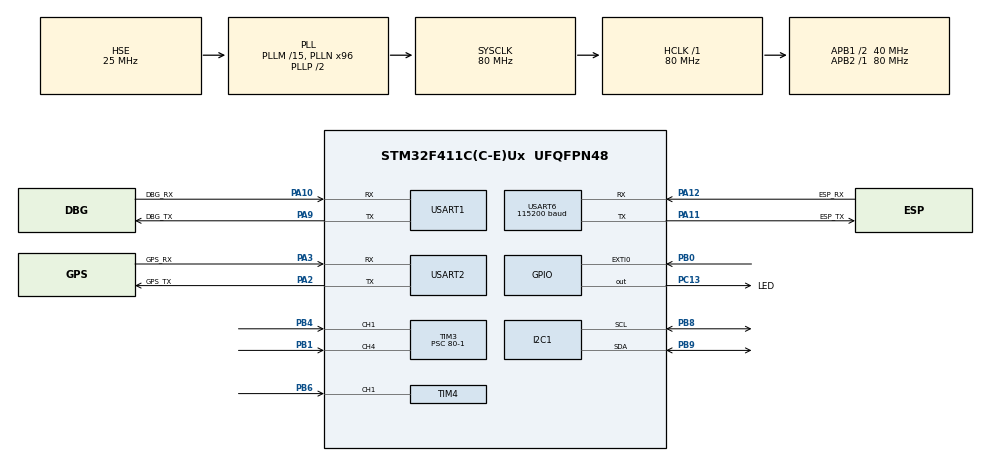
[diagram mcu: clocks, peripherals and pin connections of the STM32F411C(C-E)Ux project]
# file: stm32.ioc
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Dma.Request0=USART2_RX
Dma.Request1=USART1_RX
Dma.Request2=USART1_TX
Dma.Request3=USART6_RX
Dma.Request4=USART6_TX
Dma.USART1_RX.1.Direction=DMA_PERIPH_TO_MEMORY
Dma.USART1_RX.1.FIFOMode=DMA_FIFOMODE_DISABLE
Dma.USART1_RX.1.Instance=DMA2_Stream2
Dma.USART1_RX.1.MemDataAlignment=DMA_MDATAALIGN_BYTE
Dma.USART1_RX.1.MemInc=DMA_MINC_ENABLE
Dma.USART1_RX.1.Mode=DMA_NORMAL
Dma.USART1_RX.1.PeriphDataAlignment=DMA_PDATAALIGN_BYTE
Dma.USART1_RX.1.PeriphInc=DMA_PINC_DISABLE
Dma.USART1_RX.1.Priority=DMA_PRIORITY_LOW
Dma.USART1_TX.2.Direction=DMA_MEMORY_TO_PERIPH
Dma.USART1_TX.2.FIFOMode=DMA_FIFOMODE_DISABLE
Dma.USART1_TX.2.Instance=DMA2_Stream7
Dma.USART1_TX.2.MemDataAlignment=DMA_MDATAALIGN_BYTE
Dma.USART1_TX.2.MemInc=DMA_MINC_ENABLE
Dma.USART1_TX.2.Mode=DMA_NORMAL
Dma.USART1_TX.2.PeriphDataAlignment=DMA_PDATAALIGN_BYTE
Dma.USART1_TX.2.PeriphInc=DMA_PINC_DISABLE
Dma.USART1_TX.2.Priority=DMA_PRIORITY_LOW
Dma.USART2_RX.0.Direction=DMA_PERIPH_TO_MEMORY
Dma.USART2_RX.0.FIFOMode=DMA_FIFOMODE_DISABLE
Dma.USART2_RX.0.Instance=DMA1_Stream5
Dma.USART2_RX.0.MemDataAlignment=DMA_MDATAALIGN_BYTE
Dma.USART2_RX.0.MemInc=DMA_MINC_ENABLE
Dma.USART2_RX.0.Mode=DMA_NORMAL
Dma.USART2_RX.0.PeriphDataAlignment=DMA_PDATAALIGN_BYTE
Dma.USART2_RX.0.PeriphInc=DMA_PINC_DISABLE
Dma.USART2_RX.0.Priority=DMA_PRIORITY_LOW
Dma.USART6_RX.3.Direction=DMA_PERIPH_TO_MEMORY
Dma.USART6_RX.3.FIFOMode=DMA_FIFOMODE_DISABLE
Dma.USART6_RX.3.Instance=DMA2_Stream1
Dma.USART6_RX.3.MemDataAlignment=DMA_MDATAALIGN_BYTE
Dma.USART6_RX.3.MemInc=DMA_MINC_ENABLE
Dma.USART6_RX.3.Mode=DMA_NORMAL
Dma.USART6_RX.3.PeriphDataAlignment=DMA_PDATAALIGN_BYTE
Dma.USART6_RX.3.PeriphInc=DMA_PINC_DISABLE
Dma.USART6_RX.3.Priority=DMA_PRIORITY_LOW
Dma.USART6_TX.4.Direction=DMA_MEMORY_TO_PERIPH
Dma.USART6_TX.4.FIFOMode=DMA_FIFOMODE_DISABLE
Dma.USART6_TX.4.Instance=DMA2_Stream6
Dma.USART6_TX.4.MemDataAlignment=DMA_MDATAALIGN_BYTE
Dma.USART6_TX.4.MemInc=DMA_MINC_ENABLE
Dma.USART6_TX.4.Mode=DMA_NORMAL
Dma.USART6_TX.4.PeriphDataAlignment=DMA_PDATAALIGN_BYTE
Dma.USART6_TX.4.PeriphInc=DMA_PINC_DISABLE
Dma.USART6_TX.4.Priority=DMA_PRIORITY_LOW
Mcu.Family=STM32F4
Mcu.Name=STM32F411C(C-E)Ux
Mcu.Package=UFQFPN48
NVIC.DMA1_Stream5_IRQn=true\:1\:0\:true\:false\:true\:false\:true\:true
NVIC.DMA2_Stream1_IRQn=true\:1\:0\:true\:false\:true\:false\:true\:true
NVIC.DMA2_Stream2_IRQn=true\:1\:0\:true\:false\:true\:false\:true\:true
NVIC.DMA2_Stream6_IRQn=true\:1\:0\:true\:false\:true\:false\:true\:true
NVIC.DMA2_Stream7_IRQn=true\:1\:0\:true\:false\:true\:false\:true\:true
NVIC.PriorityGroup=NVIC_PRIORITYGROUP_4
NVIC.TIM2_IRQn=true\:0\:0\:true\:false\:true\:true\:true\:true
NVIC.TIM3_IRQn=true\:2\:0\:true\:false\:true\:true\:true\:true
NVIC.TIM4_IRQn=true\:2\:0\:true\:false\:true\:true\:true\:true
NVIC.USART1_IRQn=true\:10\:0\:true\:false\:true\:true\:true\:true
NVIC.USART6_IRQn=true\:5\:0\:true\:false\:true\:true\:true\:true
PA10.GPIO_Label=DBG_RX
PA10.Mode=Asynchronous
PA10.Signal=USART1_RX
PA11.GPIO_Label=ESP_TX
PA11.Mode=Asynchronous
PA11.Signal=USART6_TX
PA12.GPIO_Label=ESP_RX
PA12.Mode=Asynchronous
PA12.Signal=USART6_RX
PA13.Mode=Trace_Asynchronous_SW
PA13.Signal=SYS_JTMS-SWDIO
PA14.Mode=Trace_Asynchronous_SW
PA14.Signal=SYS_JTCK-SWCLK
PA2.GPIO_Label=GPS_TX
PA2.Mode=Asynchronous
PA2.Signal=USART2_TX
PA3.GPIO_Label=GPS_RX
PA3.Mode=Asynchronous
PA3.Signal=USART2_RX
PA9.GPIO_Label=DBG_TX
PA9.Mode=Asynchronous
PA9.Signal=USART1_TX
PB0.GPIO_ModeDefaultEXTI=GPIO_MODE_IT_RISING_FALLING
PB0.GPIO_PuPd=GPIO_PULLDOWN
PB0.Signal=GPXTI0
PB1.Signal=S_TIM3_CH4
PB3.Mode=Trace_Asynchronous_SW
PB3.Signal=SYS_JTDO-SWO
PB4.Signal=S_TIM3_CH1
PB5.Signal=S_TIM3_CH2
PB6.Signal=S_TIM4_CH1
PB8.Mode=I2C
PB8.Signal=I2C1_SCL
PB9.Mode=I2C
PB9.Signal=I2C1_SDA
PC13-ANTI_TAMP.GPIO_Label=LED
PC13-ANTI_TAMP.Signal=GPIO_Output
PC14-OSC32_IN.Mode=LSE-External-Oscillator
PC14-OSC32_IN.Signal=RCC_OSC32_IN
PC15-OSC32_OUT.Mode=LSE-External-Oscillator
PC15-OSC32_OUT.Signal=RCC_OSC32_OUT
PH0\ -\ OSC_IN.Mode=HSE-External-Oscillator
PH0\ -\ OSC_IN.Signal=RCC_OSC_IN
PH1\ -\ OSC_OUT.Mode=HSE-External-Oscillator
PH1\ -\ OSC_OUT.Signal=RCC_OSC_OUT
ProjectManager.HeapSize=0x100
ProjectManager.StackSize=0x500
ProjectManager.TargetToolchain=CMake
RCC.48MHZClocksFreq_Value=40000000
RCC.AHBFreq_Value=80000000
RCC.APB1CLKDivider=RCC_HCLK_DIV2
RCC.APB1Freq_Value=40000000
RCC.APB1TimFreq_Value=80000000
RCC.APB2Freq_Value=80000000
RCC.APB2TimFreq_Value=80000000
RCC.CortexFreq_Value=80000000
RCC.HCLKFreq_Value=80000000
RCC.HSE_VALUE=25000000
RCC.HSI_VALUE=16000000
RCC.PLLM=15
RCC.PLLN=96
RCC.PLLSourceVirtual=RCC_PLLSOURCE_HSE
RCC.SYSCLKFreq_VALUE=80000000
RCC.SYSCLKSource=RCC_SYSCLKSOURCE_PLLCLK
RCC.VCOOutputFreq_Value=160000000
SH.S_TIM3_CH1.0=TIM3_CH1,Input_Capture1_from_TI1
SH.S_TIM3_CH2.0=TIM3_CH2
SH.S_TIM3_CH4.0=TIM3_CH4,Input_Capture4_from_TI4
SH.S_TIM4_CH1.0=TIM4_CH1,Input_Capture1_from_TI1
TIM2.AutoReloadPreload=TIM_AUTORELOAD_PRELOAD_ENABLE
TIM2.Channel-Output\ Compare1\ No\ Output=TIM_CHANNEL_1
TIM2.Channel-Output\ Compare2\ No\ Output=TIM_CHANNEL_2
TIM2.Channel-Output\ Compare3\ No\ Output=TIM_CHANNEL_3
TIM2.Channel-Output\ Compare4\ No\ Output=TIM_CHANNEL_4
TIM2.OC1Preload=DISABLE
TIM2.OCMode_1=TIM_OCMODE_TIMING
TIM2.Period=0xffffffff
TIM2.Prescaler=80-1
TIM2.Pulse-Output\ Compare1\ No\ Output=10
TIM2.Pulse-Output\ Compare2\ No\ Output=1000
TIM2.Pulse-Output\ Compare3\ No\ Output=10000
TIM2.Pulse-Output\ Compare4\ No\ Output=100000
TIM3.Channel-Input_Capture1_from_TI1=TIM_CHANNEL_1
TIM3.Channel-Input_Capture4_from_TI4=TIM_CHANNEL_4
TIM3.Prescaler=80-1
TIM4.Channel-Input_Capture1_from_TI1=TIM_CHANNEL_1
TIM4.Prescaler=80-1
USART1.VirtualMode=VM_ASYNC
USART2.VirtualMode=VM_ASYNC
USART6.BaudRate=115200
USART6.VirtualMode=VM_ASYNC
VP_CRC_VS_CRC.Mode=CRC_Activate
VP_TIM2_VS_ClockSourceINT.Mode=Internal
VP_TIM2_VS_no_output1.Mode=Output Compare1 No Output
VP_TIM2_VS_no_output2.Mode=Output Compare2 No Output
VP_TIM2_VS_no_output3.Mode=Output Compare3 No Output
VP_TIM2_VS_no_output4.Mode=Output Compare4 No Output
VP_TIM3_VS_ClockSourceINT.Mode=Internal
VP_TIM4_VS_ClockSourceINT.Mode=Internal
board=custom

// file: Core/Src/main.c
/* USER CODE BEGIN Header */
/**
 ******************************************************************************
 * @file           : main.c
 * @brief          : Main program body
 ******************************************************************************
 * @attention
 *
 * Copyright (c) 2025 STMicroelectronics.
 * All rights reserved.
 *
 * This software is licensed under terms that can be found in the LICENSE file
 * in the root directory of this software component.
 * If no LICENSE file comes with this software, it is provided AS-IS.
 *
 ******************************************************************************
 */
/* USER CODE END Header */
#include "main.h"

/* USER CODE BEGIN Includes */
#include "su_common.h"
/* USER CODE END Includes */

/* USER CODE BEGIN PD */
extern int app(void);

/* USER CODE END PD */

CRC_HandleTypeDef hcrc;

I2C_HandleTypeDef hi2c1;

TIM_HandleTypeDef htim2;
TIM_HandleTypeDef htim3;
TIM_HandleTypeDef htim4;

UART_HandleTypeDef huart1;
UART_HandleTypeDef huart2;
UART_HandleTypeDef huart6;
DMA_HandleTypeDef hdma_usart1_rx;
DMA_HandleTypeDef hdma_usart1_tx;
DMA_HandleTypeDef hdma_usart2_rx;
DMA_HandleTypeDef hdma_usart6_rx;
DMA_HandleTypeDef hdma_usart6_tx;

void SystemClock_Config(void);
static void MX_GPIO_Init(void);
static void MX_DMA_Init(void);
static void MX_USART1_UART_Init(void);
static void MX_I2C1_Init(void);
static void MX_CRC_Init(void);
static void MX_TIM2_Init(void);
static void MX_TIM3_Init(void);
static void MX_TIM4_Init(void);
static void MX_USART2_UART_Init(void);
static void MX_USART6_UART_Init(void);

/* USER CODE BEGIN 0 */

static UART_HandleTypeDef *const l_uart_ifcs[] = {&huart1, &huart6};
size_t get_uart_ifcs(UART_HandleTypeDef *const **const uart_ifcs_buffer)
{
  *uart_ifcs_buffer = l_uart_ifcs;
  // Return the number of UART interfaces
  return ARRAY_SIZE(l_uart_ifcs);
}

static I2C_HandleTypeDef *const l_iic_ifcs[] = {&hi2c1};
size_t get_iic_ifcs(I2C_HandleTypeDef *const **const iic_ifcs_buffer)
{
  *iic_ifcs_buffer = l_iic_ifcs;
  // Return the number of UART interfaces
  return ARRAY_SIZE(l_iic_ifcs);
}

static GPIO_TypeDef *const l_hw_ports[] = {LED_GPIO_Port};
static uint16_t const l_hw_pins[] = {LED_Pin};
size_t get_gpio_pins(GPIO_TypeDef *const **const port, uint16_t const **pin)
{
  ARRAY_EQUAL_LENGTHS(l_hw_ports, l_hw_pins);

  *port = l_hw_ports;
  *pin = l_hw_pins;

  return ARRAY_SIZE(l_hw_ports);
}

static inline uint32_t get_tim_bus_freq(TIM_HandleTypeDef *htim)
{
  uint32_t apb1_timer_clk = HAL_RCC_GetPCLK1Freq() * 2;
  uint32_t apb2_timer_clk = HAL_RCC_GetPCLK2Freq() * 1;

  return (((uint32_t)htim->Instance & APB1PERIPH_BASE) == APB1PERIPH_BASE) ? apb1_timer_clk : apb2_timer_clk;
}
static inline uint8_t get_tim_clk_division(TIM_HandleTypeDef *htim)
{
  return (htim->Init.ClockDivision == TIM_CLOCKDIVISION_DIV1) ? 1 : (htim->Init.ClockDivision == TIM_CLOCKDIVISION_DIV2) ? 2
                                                                                                                         : 4;
}

void get_base_tim_ifc(TIM_HandleTypeDef * *hw_inst)
{
  *hw_inst = &htim2;

}

/**
 * @brief
 * @note No support for TIM1
 * @note in one timer don't use the cannels shared with same hardware counter
 * for example TIM3_CH1 and TIM3_CH2 can't be used for input capture at the same time
 */
static struct hal_capture_tim_ifc l_tim_ic_ifcs[] = {{
  .base_timer = &htim3,
  .engaged_channels = TIM_CHANNEL_1,
},
{  .base_timer = &htim3,
  .engaged_channels = TIM_CHANNEL_4,
},
{
  .base_timer = &htim4,
  .engaged_channels = TIM_CHANNEL_1,
}
};

size_t get_ic_tim_ifcs(struct hal_capture_tim_ifc ** hw_tim_ifcs)
{
  *hw_tim_ifcs = l_tim_ic_ifcs;

  // Return the number of TIM interfaces
  return (ARRAY_SIZE(l_tim_ic_ifcs));
}

/* USER CODE END 0 */

int main(void)
{

  /* MCU Configuration--------------------------------------------------------*/

  /* Reset of all peripherals, Initializes the Flash interface and the Systick. */
  HAL_Init();

  /* Configure the system clock */
  SystemClock_Config();

  /* Initialize all configured peripherals */
  MX_GPIO_Init();
  MX_DMA_Init();
  MX_USART1_UART_Init();
  MX_I2C1_Init();
  MX_CRC_Init();
  MX_TIM2_Init();
  MX_TIM3_Init();
  MX_TIM4_Init();
  MX_USART2_UART_Init();
  MX_USART6_UART_Init();
  /* USER CODE BEGIN 2 */

  app();
  /* USER CODE END 2 */

  /* Infinite loop */
  while (1)
  {

    /* USER CODE BEGIN 3 */
    SW_BREAK();
  }
  /* USER CODE END 3 */
}

void SystemClock_Config(void)
{
  RCC_OscInitTypeDef RCC_OscInitStruct = {0};
  RCC_ClkInitTypeDef RCC_ClkInitStruct = {0};

  /** Configure the main internal regulator output voltage
  */
  __HAL_RCC_PWR_CLK_ENABLE();
  __HAL_PWR_VOLTAGESCALING_CONFIG(PWR_REGULATOR_VOLTAGE_SCALE1);

  /** Initializes the RCC Oscillators according to the specified parameters
  * in the RCC_OscInitTypeDef structure.
  */
  RCC_OscInitStruct.OscillatorType = RCC_OSCILLATORTYPE_HSE;
  RCC_OscInitStruct.HSEState = RCC_HSE_ON;
  RCC_OscInitStruct.PLL.PLLState = RCC_PLL_ON;
  RCC_OscInitStruct.PLL.PLLSource = RCC_PLLSOURCE_HSE;
  RCC_OscInitStruct.PLL.PLLM = 15;
  RCC_OscInitStruct.PLL.PLLN = 96;
  RCC_OscInitStruct.PLL.PLLP = RCC_PLLP_DIV2;
  RCC_OscInitStruct.PLL.PLLQ = 4;
  if (HAL_RCC_OscConfig(&RCC_OscInitStruct) != HAL_OK)
  {
    Error_Handler();
  }

  /** Initializes the CPU, AHB and APB buses clocks
  */
  RCC_ClkInitStruct.ClockType = RCC_CLOCKTYPE_HCLK|RCC_CLOCKTYPE_SYSCLK
                              |RCC_CLOCKTYPE_PCLK1|RCC_CLOCKTYPE_PCLK2;
  RCC_ClkInitStruct.SYSCLKSource = RCC_SYSCLKSOURCE_PLLCLK;
  RCC_ClkInitStruct.AHBCLKDivider = RCC_SYSCLK_DIV1;
  RCC_ClkInitStruct.APB1CLKDivider = RCC_HCLK_DIV2;
  RCC_ClkInitStruct.APB2CLKDivider = RCC_HCLK_DIV1;

  if (HAL_RCC_ClockConfig(&RCC_ClkInitStruct, FLASH_LATENCY_2) != HAL_OK)
  {
    Error_Handler();
  }
}

static void MX_CRC_Init(void)
{

  hcrc.Instance = CRC;
  if (HAL_CRC_Init(&hcrc) != HAL_OK)
  {
    Error_Handler();
  }

}

static void MX_I2C1_Init(void)
{

  hi2c1.Instance = I2C1;
  hi2c1.Init.ClockSpeed = 100000;
  hi2c1.Init.DutyCycle = I2C_DUTYCYCLE_2;
  hi2c1.Init.OwnAddress1 = 0;
  hi2c1.Init.AddressingMode = I2C_ADDRESSINGMODE_7BIT;
  hi2c1.Init.DualAddressMode = I2C_DUALADDRESS_DISABLE;
  hi2c1.Init.OwnAddress2 = 0;
  hi2c1.Init.GeneralCallMode = I2C_GENERALCALL_DISABLE;
  hi2c1.Init.NoStretchMode = I2C_NOSTRETCH_DISABLE;
  if (HAL_I2C_Init(&hi2c1) != HAL_OK)
  {
    Error_Handler();
  }

}

static void MX_TIM2_Init(void)
{

  TIM_ClockConfigTypeDef sClockSourceConfig = {0};
  TIM_MasterConfigTypeDef sMasterConfig = {0};
  TIM_OC_InitTypeDef sConfigOC = {0};

  htim2.Instance = TIM2;
  htim2.Init.Prescaler = 80-1;
  htim2.Init.CounterMode = TIM_COUNTERMODE_UP;
  htim2.Init.Period = 0xffffffff;
  htim2.Init.ClockDivision = TIM_CLOCKDIVISION_DIV1;
  htim2.Init.AutoReloadPreload = TIM_AUTORELOAD_PRELOAD_ENABLE;
  if (HAL_TIM_Base_Init(&htim2) != HAL_OK)
  {
    Error_Handler();
  }
  sClockSourceConfig.ClockSource = TIM_CLOCKSOURCE_INTERNAL;
  if (HAL_TIM_ConfigClockSource(&htim2, &sClockSourceConfig) != HAL_OK)
  {
    Error_Handler();
  }
  if (HAL_TIM_OC_Init(&htim2) != HAL_OK)
  {
    Error_Handler();
  }
  sMasterConfig.MasterOutputTrigger = TIM_TRGO_RESET;
  sMasterConfig.MasterSlaveMode = TIM_MASTERSLAVEMODE_DISABLE;
  if (HAL_TIMEx_MasterConfigSynchronization(&htim2, &sMasterConfig) != HAL_OK)
  {
    Error_Handler();
  }
  sConfigOC.OCMode = TIM_OCMODE_TIMING;
  sConfigOC.Pulse = 10;
  sConfigOC.OCPolarity = TIM_OCPOLARITY_HIGH;
  sConfigOC.OCFastMode = TIM_OCFAST_DISABLE;
  if (HAL_TIM_OC_ConfigChannel(&htim2, &sConfigOC, TIM_CHANNEL_1) != HAL_OK)
  {
    Error_Handler();
  }
  sConfigOC.Pulse = 1000;
  if (HAL_TIM_OC_ConfigChannel(&htim2, &sConfigOC, TIM_CHANNEL_2) != HAL_OK)
  {
    Error_Handler();
  }
  sConfigOC.Pulse = 10000;
  if (HAL_TIM_OC_ConfigChannel(&htim2, &sConfigOC, TIM_CHANNEL_3) != HAL_OK)
  {
    Error_Handler();
  }
  sConfigOC.Pulse = 100000;
  if (HAL_TIM_OC_ConfigChannel(&htim2, &sConfigOC, TIM_CHANNEL_4) != HAL_OK)
  {
    Error_Handler();
  }

}

static void MX_TIM3_Init(void)
{

  TIM_ClockConfigTypeDef sClockSourceConfig = {0};
  TIM_MasterConfigTypeDef sMasterConfig = {0};
  TIM_IC_InitTypeDef sConfigIC = {0};

  htim3.Instance = TIM3;
  htim3.Init.Prescaler = 80-1;
  htim3.Init.CounterMode = TIM_COUNTERMODE_UP;
  htim3.Init.Period = 65535;
  htim3.Init.ClockDivision = TIM_CLOCKDIVISION_DIV1;
  htim3.Init.AutoReloadPreload = TIM_AUTORELOAD_PRELOAD_DISABLE;
  if (HAL_TIM_Base_Init(&htim3) != HAL_OK)
  {
    Error_Handler();
  }
  sClockSourceConfig.ClockSource = TIM_CLOCKSOURCE_INTERNAL;
  if (HAL_TIM_ConfigClockSource(&htim3, &sClockSourceConfig) != HAL_OK)
  {
    Error_Handler();
  }
  if (HAL_TIM_IC_Init(&htim3) != HAL_OK)
  {
    Error_Handler();
  }
  sMasterConfig.MasterOutputTrigger = TIM_TRGO_RESET;
  sMasterConfig.MasterSlaveMode = TIM_MASTERSLAVEMODE_DISABLE;
  if (HAL_TIMEx_MasterConfigSynchronization(&htim3, &sMasterConfig) != HAL_OK)
  {
    Error_Handler();
  }
  sConfigIC.ICPolarity = TIM_INPUTCHANNELPOLARITY_RISING;
  sConfigIC.ICSelection = TIM_ICSELECTION_DIRECTTI;
  sConfigIC.ICPrescaler = TIM_ICPSC_DIV1;
  sConfigIC.ICFilter = 0;
  if (HAL_TIM_IC_ConfigChannel(&htim3, &sConfigIC, TIM_CHANNEL_1) != HAL_OK)
  {
    Error_Handler();
  }
  if (HAL_TIM_IC_ConfigChannel(&htim3, &sConfigIC, TIM_CHANNEL_4) != HAL_OK)
  {
    Error_Handler();
  }

}

static void MX_TIM4_Init(void)
{

  TIM_ClockConfigTypeDef sClockSourceConfig = {0};
  TIM_MasterConfigTypeDef sMasterConfig = {0};
  TIM_IC_InitTypeDef sConfigIC = {0};

  htim4.Instance = TIM4;
  htim4.Init.Prescaler = 80-1;
  htim4.Init.CounterMode = TIM_COUNTERMODE_UP;
  htim4.Init.Period = 65535;
  htim4.Init.ClockDivision = TIM_CLOCKDIVISION_DIV1;
  htim4.Init.AutoReloadPreload = TIM_AUTORELOAD_PRELOAD_DISABLE;
  if (HAL_TIM_Base_Init(&htim4) != HAL_OK)
  {
    Error_Handler();
  }
  sClockSourceConfig.ClockSource = TIM_CLOCKSOURCE_INTERNAL;
  if (HAL_TIM_ConfigClockSource(&htim4, &sClockSourceConfig) != HAL_OK)
  {
    Error_Handler();
  }
  if (HAL_TIM_IC_Init(&htim4) != HAL_OK)
  {
    Error_Handler();
  }
  sMasterConfig.MasterOutputTrigger = TIM_TRGO_RESET;
  sMasterConfig.MasterSlaveMode = TIM_MASTERSLAVEMODE_DISABLE;
  if (HAL_TIMEx_MasterConfigSynchronization(&htim4, &sMasterConfig) != HAL_OK)
  {
    Error_Handler();
  }
  sConfigIC.ICPolarity = TIM_INPUTCHANNELPOLARITY_RISING;
  sConfigIC.ICSelection = TIM_ICSELECTION_DIRECTTI;
  sConfigIC.ICPrescaler = TIM_ICPSC_DIV1;
  sConfigIC.ICFilter = 0;
  if (HAL_TIM_IC_ConfigChannel(&htim4, &sConfigIC, TIM_CHANNEL_1) != HAL_OK)
  {
    Error_Handler();
  }

}

static void MX_USART1_UART_Init(void)
{

  huart1.Instance = USART1;
  huart1.Init.BaudRate = 115200;
  huart1.Init.WordLength = UART_WORDLENGTH_8B;
  huart1.Init.StopBits = UART_STOPBITS_1;
  huart1.Init.Parity = UART_PARITY_NONE;
  huart1.Init.Mode = UART_MODE_TX_RX;
  huart1.Init.HwFlowCtl = UART_HWCONTROL_NONE;
  huart1.Init.OverSampling = UART_OVERSAMPLING_16;
  if (HAL_UART_Init(&huart1) != HAL_OK)
  {
    Error_Handler();
  }

}

static void MX_USART2_UART_Init(void)
{

  huart2.Instance = USART2;
  huart2.Init.BaudRate = 115200;
  huart2.Init.WordLength = UART_WORDLENGTH_8B;
  huart2.Init.StopBits = UART_STOPBITS_1;
  huart2.Init.Parity = UART_PARITY_NONE;
  huart2.Init.Mode = UART_MODE_TX_RX;
  huart2.Init.HwFlowCtl = UART_HWCONTROL_NONE;
  huart2.Init.OverSampling = UART_OVERSAMPLING_16;
  if (HAL_UART_Init(&huart2) != HAL_OK)
  {
    Error_Handler();
  }

}

static void MX_USART6_UART_Init(void)
{

  huart6.Instance = USART6;
  huart6.Init.BaudRate = 115200;
  huart6.Init.WordLength = UART_WORDLENGTH_8B;
  huart6.Init.StopBits = UART_STOPBITS_1;
  huart6.Init.Parity = UART_PARITY_NONE;
  huart6.Init.Mode = UART_MODE_TX_RX;
  huart6.Init.HwFlowCtl = UART_HWCONTROL_NONE;
  huart6.Init.OverSampling = UART_OVERSAMPLING_16;
  if (HAL_UART_Init(&huart6) != HAL_OK)
  {
    Error_Handler();
  }

}

static void MX_DMA_Init(void)
{

  /* DMA controller clock enable */
  __HAL_RCC_DMA1_CLK_ENABLE();
  __HAL_RCC_DMA2_CLK_ENABLE();

  /* DMA interrupt init */
  /* DMA1_Stream5_IRQn interrupt configuration */
  HAL_NVIC_SetPriority(DMA1_Stream5_IRQn, 1, 0);
  HAL_NVIC_EnableIRQ(DMA1_Stream5_IRQn);
  /* DMA2_Stream1_IRQn interrupt configuration */
  HAL_NVIC_SetPriority(DMA2_Stream1_IRQn, 1, 0);
  HAL_NVIC_EnableIRQ(DMA2_Stream1_IRQn);
  /* DMA2_Stream2_IRQn interrupt configuration */
  HAL_NVIC_SetPriority(DMA2_Stream2_IRQn, 1, 0);
  HAL_NVIC_EnableIRQ(DMA2_Stream2_IRQn);
  /* DMA2_Stream6_IRQn interrupt configuration */
  HAL_NVIC_SetPriority(DMA2_Stream6_IRQn, 1, 0);
  HAL_NVIC_EnableIRQ(DMA2_Stream6_IRQn);
  /* DMA2_Stream7_IRQn interrupt configuration */
  HAL_NVIC_SetPriority(DMA2_Stream7_IRQn, 1, 0);
  HAL_NVIC_EnableIRQ(DMA2_Stream7_IRQn);

}

static void MX_GPIO_Init(void)
{
  GPIO_InitTypeDef GPIO_InitStruct = {0};

  /* GPIO Ports Clock Enable */
  __HAL_RCC_GPIOC_CLK_ENABLE();
  __HAL_RCC_GPIOH_CLK_ENABLE();
  __HAL_RCC_GPIOA_CLK_ENABLE();
  __HAL_RCC_GPIOB_CLK_ENABLE();

  /*Configure GPIO pin Output Level */
  HAL_GPIO_WritePin(LED_GPIO_Port, LED_Pin, GPIO_PIN_RESET);

  /*Configure GPIO pin : LED_Pin */
  GPIO_InitStruct.Pin = LED_Pin;
  GPIO_InitStruct.Mode = GPIO_MODE_OUTPUT_PP;
  GPIO_InitStruct.Pull = GPIO_NOPULL;
  GPIO_InitStruct.Speed = GPIO_SPEED_FREQ_LOW;
  HAL_GPIO_Init(LED_GPIO_Port, &GPIO_InitStruct);

  /*Configure GPIO pins : PA0 PA1 PA4 PA5
                           PA6 PA7 PA8 PA15 */
  GPIO_InitStruct.Pin = GPIO_PIN_0|GPIO_PIN_1|GPIO_PIN_4|GPIO_PIN_5
                          |GPIO_PIN_6|GPIO_PIN_7|GPIO_PIN_8|GPIO_PIN_15;
  GPIO_InitStruct.Mode = GPIO_MODE_ANALOG;
  GPIO_InitStruct.Pull = GPIO_NOPULL;
  HAL_GPIO_Init(GPIOA, &GPIO_InitStruct);

  /*Configure GPIO pin : PB0 */
  GPIO_InitStruct.Pin = GPIO_PIN_0;
  GPIO_InitStruct.Mode = GPIO_MODE_IT_RISING_FALLING;
  GPIO_InitStruct.Pull = GPIO_PULLDOWN;
  HAL_GPIO_Init(GPIOB, &GPIO_InitStruct);

  /*Configure GPIO pins : PB2 PB10 PB12 PB13
                           PB14 PB15 PB7 */
  GPIO_InitStruct.Pin = GPIO_PIN_2|GPIO_PIN_10|GPIO_PIN_12|GPIO_PIN_13
                          |GPIO_PIN_14|GPIO_PIN_15|GPIO_PIN_7;
  GPIO_InitStruct.Mode = GPIO_MODE_ANALOG;
  GPIO_InitStruct.Pull = GPIO_NOPULL;
  HAL_GPIO_Init(GPIOB, &GPIO_InitStruct);

}

/* USER CODE BEGIN 4 */
int __io_putchar(int ch)
{
  ITM_SendChar(ch);
  return (ch);
}
/* USER CODE END 4 */

void Error_Handler(void)
{
  __disable_irq();
  while (1)
  {
  }
}
